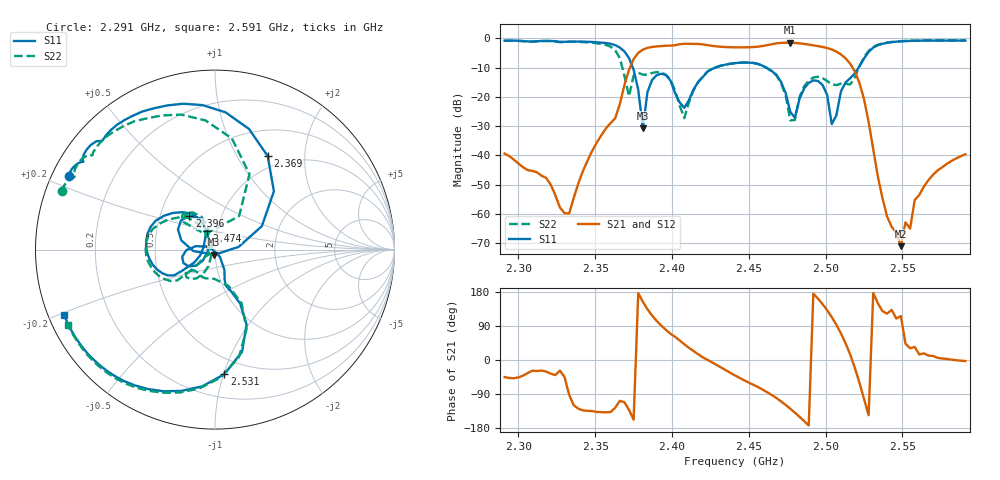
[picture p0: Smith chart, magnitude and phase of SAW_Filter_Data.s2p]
# GHz S RI R 50
! S-Parameters data
! Freq  reS11  imS11  reS21  imS21  reS12  imS12  reS22  imS22
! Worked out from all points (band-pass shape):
!   101 points, 2.291 GHz to 2.591 GHz, reference 50 ohm
!   highest |S21| = -1.48 dB at 2.477 GHz (marker M1); lowest = -71.0 dB at 2.549 GHz (marker M2)
!   |S21| within 3 dB of the highest: 2.379 GHz to 2.507 GHz (127.6 MHz wide, 5.22 % of centre)
!   lowest |S11| = -30.7 dB at 2.381 GHz (marker M3), VSWR 1.06, Z = 49.6 - j2.88 ohm
!   |S11| at or under -10 dB: 2.374 GHz to 2.428 GHz (53.71 MHz wide, 2.24 % of centre); 2.461 GHz to 2.521 GHz (60.01 MHz wide, 2.41 % of centre)
!   |S22| runs from -28.0 to -0.7 dB; largest |S21 - S12| = 0
!   S11 on the Smith chart (normalised r, x): 2.291 GHz: 0.05, +0.24; 2.369 GHz: 0.83, +1.35; 2.396 GHz: 0.70, +0.28; 2.474 GHz: 0.89, +0.19; 2.531 GHz: 0.37, -1.01; 2.591 GHz: 0.05, -0.21
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2.291  -0.8152 0.4128  0.00762 -0.00762  0.00762 -0.00762  -0.8531 0.3256
2.33  -0.6206 0.6171  0.000732 -0.000729  0.000732 -0.000729  -0.6782 0.5427
2.342  -0.5026 0.7225  -0.0037 -0.00397  -0.0037 -0.00397  -0.5572 0.661
2.36  -0.0685 0.805  -0.0262 -0.0243  -0.0262 -0.0243  -0.0534 0.7199
2.369  0.2938 0.5208  -0.0579 -0.1482  -0.0579 -0.1482  0.1344 0.1867
2.381  -0.00365 -0.029  -0.5759 0.2854  -0.5759 0.2854  -0.1513 0.1864
2.384  -0.1204 -0.00809  -0.4788 0.496  -0.4788 0.496  -0.1683 0.1711
2.393  -0.1894 0.1626  -0.01 0.7398  -0.01 0.7398  -0.1595 0.2061
2.396  -0.1429 0.1877  0.1366 0.7374  0.1366 0.7374  -0.1222 0.2067
2.408  -0.0636 0.0139  0.6063 0.5359  0.6063 0.5359  -0.0341 -0.0269
2.423  -0.2269 -0.1433  0.7673 0.00855  0.7673 0.00855  -0.2098 -0.1713
2.441  -0.3773 -0.0193  0.5334 -0.4586  0.5334 -0.4586  -0.3731 -0.0657
2.474  -0.0466 0.106  -0.4048 -0.7401  -0.4048 -0.7401  -0.0515 0.0921
2.477  -0.0335 0.044  -0.5263 -0.6593  -0.5263 -0.6593  -0.0259 0.03
2.492  -0.1754 -0.0754  -0.7589 0.0651  -0.7589 0.0651  -0.1376 -0.1648
2.504  -0.0306 0.0157  -0.2556 0.594  -0.2556 0.594  -0.1153 -0.1161
2.519  0.0918 -0.2352  0.2556 -0.0951  0.2556 -0.0951  0.0751 -0.2018
2.531  0.0519 -0.6947  -0.0128 0.000736  -0.0128 0.000736  0.0305 -0.714
2.543  -0.3727 -0.7772  -0.000407 0.000447  -0.000407 0.000447  -0.3703 -0.7868
2.549  -0.509 -0.7315  -0.000123 0.000253  -0.000123 0.000253  -0.4982 -0.7466
2.564  -0.7076 -0.5816  0.0028 0.000894  0.0028 0.000894  -0.6854 -0.6134
2.591  -0.8402 -0.3669  0.0105 -0.000511  0.0105 -0.000511  -0.8188 -0.4216
